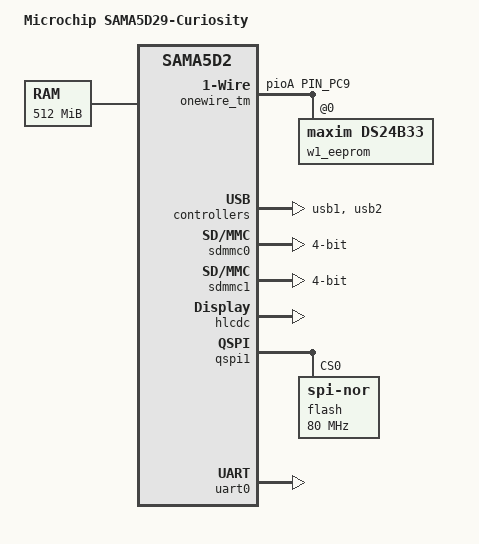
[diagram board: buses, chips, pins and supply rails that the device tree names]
// SPDX-License-Identifier: (GPL-2.0+ OR MIT)
/*
 * at91-sama5d29_curiosity.dts - Device Tree file for SAMA5D29 CURIOSITY board
 *
 * Copyright (C) 2023 Microchip Technology Inc. and its subsidiaries
 *
 * Author: Mihai Sain <mihai.sain@microchip.com>
 *
 */
/dts-v1/;
#include <dt-bindings/gpio/gpio.h>
#include <dt-bindings/pinctrl/at91.h>
#include "sama5d2.dtsi"
#include "sama5d2-pinfunc.h"

/ {
	model = "Microchip SAMA5D29-Curiosity";
	compatible = "atmel,sama5d29-curiosity", "atmel,sama5d2", "atmel,sama5";

	chosen {
		bootargs = "console=ttyS0,115200 root=/dev/mmcblk0p2 rw rootwait";
		stdout-path = &uart0;
	};

	memory {
		reg = <0x20000000 0x20000000>; // 512 MiB LPDDR2-333
	};

	clocks {
		slow_xtal: slow_xtal {
			clock-frequency = <32768>;
		};

		main_xtal: main_xtal {
			clock-frequency = <24000000>;
		};
	};

	onewire_tm: onewire {
		gpios = <&pioA PIN_PC9 GPIO_ACTIVE_HIGH>;
		pinctrl-names = "default";
		pinctrl-0 = <&pinctrl_onewire_tm_default>;
		status = "okay";

		w1_eeprom: w1_eeprom@0 {
			compatible = "maxim,ds24b33";
			status = "okay";
		};
	};

	ahb {
		usb1: ohci@400000 {
			num-ports = <3>;
			atmel,vbus-gpio = <&pioA PIN_PB13 GPIO_ACTIVE_HIGH>;
			pinctrl-names = "default";
			pinctrl-0 = <&pinctrl_usb_default>;
			status = "okay";
		};

		usb2: ehci@500000 {
			status = "okay";
		};

		sdmmc0: sdio-host@a0000000 {
			bus-width = <4>;
			disable-wp;
			pinctrl-names = "default";
			pinctrl-0 = <&pinctrl_sdmmc0_default>;
			status = "okay";
		};

		sdmmc1: sdio-host@b0000000 {
			bus-width = <4>;
			disable-wp;
			pinctrl-names = "default";
			pinctrl-0 = <&pinctrl_sdmmc1_default>;
			status = "okay";
		};

		apb {
			hlcdc: hlcdc@f0000000 {
				atmel,vl-bpix = <4>;
				atmel,output-mode = <24>;
				atmel,guard-time = <1>;
				pinctrl-names = "default";
				pinctrl-0 = <&pinctrl_lcd_base &pinctrl_lcd_pwm &pinctrl_lcd_rgb666>;
				status = "okay";

				display-timings { // PDA TM5000
					800x480 {
						clock-frequency = <33000000>;
						xres = <800>;
						yres = <480>;
						hactive = <800>;
						vactive = <480>;
						hsync-len = <64>;
						hfront-porch = <1>;
						hback-porch = <64>;
						vfront-porch = <1>;
						vback-porch = <22>;
						vsync-len = <23>;
					};
				};
			};

			qspi1: spi@f0024000 {
				pinctrl-names = "default";
				pinctrl-0 = <&pinctrl_qspi1_default>;
				status = "okay";

				flash@0 {
					compatible = "jedec,spi-nor";
					reg = <0>;
					spi-max-frequency = <80000000>;
					spi-rx-bus-width = <4>;
					spi-tx-bus-width = <4>;
					m25p,fast-read;
				};
			};

			uart0: serial@f801c000 {
				pinctrl-names = "default";
				pinctrl-0 = <&pinctrl_uart0_default>;
				status = "okay";
			};

			pioA: pinctrl@fc038000 {
				pinctrl_lcd_base: lcd_base {
					pinmux = <PIN_PC30__LCDVSYNC>,
						 <PIN_PC31__LCDHSYNC>,
						 <PIN_PD1__LCDDEN>,
						 <PIN_PD0__LCDPCK>;
					bias-disable;
				};

				pinctrl_lcd_pwm: lcd_pwm {
					pinmux = <PIN_PC28__LCDPWM>;
					bias-disable;
				};

				pinctrl_lcd_rgb666: lcd_rgb666 {
					pinmux = <PIN_PC10__LCDDAT2>,
						 <PIN_PC11__LCDDAT3>,
						 <PIN_PC12__LCDDAT4>,
						 <PIN_PC13__LCDDAT5>,
						 <PIN_PC14__LCDDAT6>,
						 <PIN_PC15__LCDDAT7>,
						 <PIN_PC16__LCDDAT10>,
						 <PIN_PC17__LCDDAT11>,
						 <PIN_PC18__LCDDAT12>,
						 <PIN_PC19__LCDDAT13>,
						 <PIN_PC20__LCDDAT14>,
						 <PIN_PC21__LCDDAT15>,
						 <PIN_PC22__LCDDAT18>,
						 <PIN_PC23__LCDDAT19>,
						 <PIN_PC24__LCDDAT20>,
						 <PIN_PC25__LCDDAT21>,
						 <PIN_PC26__LCDDAT22>,
						 <PIN_PC27__LCDDAT23>;
					bias-disable;
				};

				pinctrl_qspi1_default: qspi1_default {
					pinmux = <PIN_PB5__QSPI1_SCK>,
						 <PIN_PB6__QSPI1_CS>,
						 <PIN_PB7__QSPI1_IO0>,
						 <PIN_PB8__QSPI1_IO1>,
						 <PIN_PB9__QSPI1_IO2>,
						 <PIN_PB10__QSPI1_IO3>;
					bias-pull-up;
				};

				pinctrl_sdmmc0_default: sdmmc0_default {
					pinmux = <PIN_PA0__SDMMC0_CK>,
						 <PIN_PA1__SDMMC0_CMD>,
						 <PIN_PA2__SDMMC0_DAT0>,
						 <PIN_PA3__SDMMC0_DAT1>,
						 <PIN_PA4__SDMMC0_DAT2>,
						 <PIN_PA5__SDMMC0_DAT3>,
						 <PIN_PA11__SDMMC0_VDDSEL>,
						 <PIN_PA13__SDMMC0_CD>;
					bias-disable;
				};

				pinctrl_sdmmc1_default: sdmmc1_default {
					pinmux = <PIN_PA18__SDMMC1_DAT0>,
						 <PIN_PA19__SDMMC1_DAT1>,
						 <PIN_PA20__SDMMC1_DAT2>,
						 <PIN_PA21__SDMMC1_DAT3>,
						 <PIN_PA22__SDMMC1_CK>,
						 <PIN_PA28__SDMMC1_CMD>,
						 <PIN_PA30__SDMMC1_CD>;
					bias-disable;
				};

				pinctrl_uart0_default: uart0_default {
					pinmux = <PIN_PB26__URXD0>,
						 <PIN_PB27__UTXD0>;
					bias-disable;
				};

				pinctrl_usb_default: usb_default {
					pinmux = <PIN_PA6__GPIO>;
					bias-disable;
				};

				pinctrl_usba_vbus: usba_vbus {
					pinmux = <PIN_PB13__GPIO>;
					bias-disable;
				};

				pinctrl_onewire_tm_default: onewire_tm_default {
					pinmux = <PIN_PC9__GPIO>;
					bias-pull-up;
				};
			};
		};
	};
};
